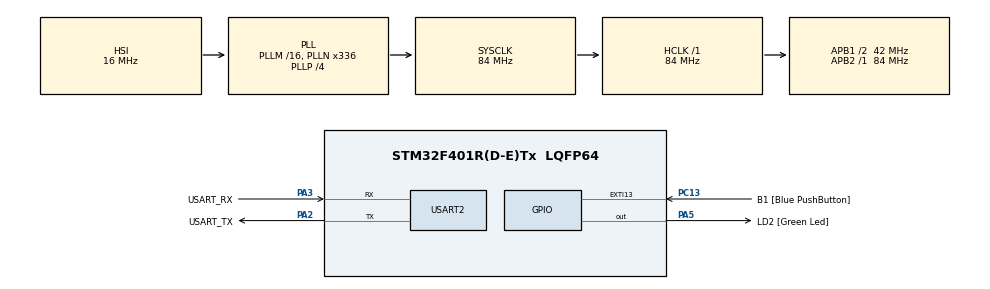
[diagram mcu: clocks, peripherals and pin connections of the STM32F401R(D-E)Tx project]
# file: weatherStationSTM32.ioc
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Mcu.Family=STM32F4
Mcu.Name=STM32F401R(D-E)Tx
Mcu.Package=LQFP64
NVIC.PriorityGroup=NVIC_PRIORITYGROUP_0
PA13.GPIO_Label=TMS
PA13.Mode=Serial_Wire
PA13.Signal=SYS_JTMS-SWDIO
PA14.GPIO_Label=TCK
PA14.Mode=Serial_Wire
PA14.Signal=SYS_JTCK-SWCLK
PA2.GPIO_Label=USART_TX
PA2.GPIO_Mode=GPIO_MODE_AF_PP
PA2.GPIO_PuPd=GPIO_NOPULL
PA2.GPIO_Speed=GPIO_SPEED_FREQ_LOW
PA2.Mode=Asynchronous
PA2.Signal=USART2_TX
PA3.GPIO_Label=USART_RX
PA3.GPIO_Mode=GPIO_MODE_AF_PP
PA3.GPIO_PuPd=GPIO_NOPULL
PA3.GPIO_Speed=GPIO_SPEED_FREQ_LOW
PA3.Mode=Asynchronous
PA3.Signal=USART2_RX
PA5.GPIO_Label=LD2 [Green Led]
PA5.GPIO_Mode=GPIO_MODE_OUTPUT_PP
PA5.GPIO_PuPd=GPIO_NOPULL
PA5.GPIO_Speed=GPIO_SPEED_FREQ_LOW
PA5.Signal=GPIO_Output
PB3.GPIO_Label=SWO
PB3.Signal=SYS_JTDO-SWO
PC13-ANTI_TAMP.GPIO_Label=B1 [Blue PushButton]
PC13-ANTI_TAMP.GPIO_ModeDefaultEXTI=GPIO_MODE_IT_FALLING
PC13-ANTI_TAMP.GPIO_PuPd=GPIO_NOPULL
PC13-ANTI_TAMP.Signal=GPXTI13
PC14-OSC32_IN.Mode=LSE-External-Oscillator
PC14-OSC32_IN.Signal=RCC_OSC32_IN
PC15-OSC32_OUT.Mode=LSE-External-Oscillator
PC15-OSC32_OUT.Signal=RCC_OSC32_OUT
PH0\ -\ OSC_IN.Mode=HSE-External-Clock-Source
PH0\ -\ OSC_IN.Signal=RCC_OSC_IN
PH1\ -\ OSC_OUT.Mode=HSE-External-Clock-Source
PH1\ -\ OSC_OUT.Signal=RCC_OSC_OUT
ProjectManager.HeapSize=0x200
ProjectManager.StackSize=0x400
ProjectManager.TargetToolchain=STM32CubeIDE
RCC.48MHZClocksFreq_Value=48000000
RCC.AHBFreq_Value=84000000
RCC.APB1CLKDivider=RCC_HCLK_DIV2
RCC.APB1Freq_Value=42000000
RCC.APB1TimFreq_Value=84000000
RCC.APB2Freq_Value=84000000
RCC.APB2TimFreq_Value=84000000
RCC.CortexFreq_Value=84000000
RCC.HCLKFreq_Value=84000000
RCC.HSE_VALUE=8000000
RCC.HSI_VALUE=16000000
RCC.PLLN=336
RCC.PLLP=RCC_PLLP_DIV4
RCC.PLLQ=7
RCC.SYSCLKFreq_VALUE=84000000
RCC.SYSCLKSource=RCC_SYSCLKSOURCE_PLLCLK
RCC.VCOOutputFreq_Value=336000000
USART2.VirtualMode=VM_ASYNC
board=NUCLEO-F401RE

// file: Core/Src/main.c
/* USER CODE BEGIN Header */
/**
 ******************************************************************************
 * @file           : main.c
 * @brief          : Main program body
 ******************************************************************************
 * @attention
 *
 * Copyright (c) 2023 STMicroelectronics.
 * All rights reserved.
 *
 * This software is licensed under terms that can be found in the LICENSE file
 * in the root directory of this software component.
 * If no LICENSE file comes with this software, it is provided AS-IS.
 *
 ******************************************************************************
 */
/* USER CODE END Header */
#include "main.h"

/* USER CODE BEGIN Includes */

#include "helpers.h"
#include "DHT.h"

/* USER CODE END Includes */

/* USER CODE BEGIN PD */
#define SAMPLING_RATE_MS 2000
#define ABSOLUT_MIN_VAL -128

/* USER CODE END PD */

UART_HandleTypeDef huart2;

void SystemClock_Config(void);
static void MX_GPIO_Init(void);
static void MX_USART2_UART_Init(void);

int main(void)
{

	/* MCU Configuration--------------------------------------------------------*/

	/* Reset of all peripherals, Initializes the Flash interface and the Systick. */
	HAL_Init();

	/* Configure the system clock */
	SystemClock_Config();

	/* Initialize all configured peripherals */
	MX_GPIO_Init();
	MX_USART2_UART_Init();
	/* USER CODE BEGIN 2 */

	static DHTdataSet DHTdataSet;
	static float temperature;
	static float humidity;

	char stringBuffer[] = "--------------------------------------------------";
	printSerialLine(&huart2, stringBuffer);
	HAL_Delay(1000);	// wait for one second after startup

	/* USER CODE END 2 */

	/* Infinite loop */
	/* USER CODE BEGIN WHILE */
	while (1) {

		if (DHT_GetData(&DHTdataSet)) {
			temperature = DHTdataSet.temperature;
			humidity = DHTdataSet.humidity;
		}
		else {
			temperature = ABSOLUT_MIN_VAL;
			humidity = ABSOLUT_MIN_VAL;
		}

		/* USER CODE END WHILE */

		/* USER CODE BEGIN 3 */
		printValuesSerialLine(&huart2, (int) temperature, (int) humidity);
		HAL_GPIO_TogglePin(LD2_GPIO_Port, LD2_Pin);
		HAL_Delay(SAMPLING_RATE_MS);
	}
	/* USER CODE END 3 */
}

void SystemClock_Config(void)
{
	RCC_OscInitTypeDef RCC_OscInitStruct = { 0 };
	RCC_ClkInitTypeDef RCC_ClkInitStruct = { 0 };

	/** Configure the main internal regulator output voltage
	 */
	__HAL_RCC_PWR_CLK_ENABLE();
	__HAL_PWR_VOLTAGESCALING_CONFIG(PWR_REGULATOR_VOLTAGE_SCALE2);

	/** Initializes the RCC Oscillators according to the specified parameters
	 * in the RCC_OscInitTypeDef structure.
	 */
	RCC_OscInitStruct.OscillatorType = RCC_OSCILLATORTYPE_HSI;
	RCC_OscInitStruct.HSIState = RCC_HSI_ON;
	RCC_OscInitStruct.HSICalibrationValue = RCC_HSICALIBRATION_DEFAULT;
	RCC_OscInitStruct.PLL.PLLState = RCC_PLL_ON;
	RCC_OscInitStruct.PLL.PLLSource = RCC_PLLSOURCE_HSI;
	RCC_OscInitStruct.PLL.PLLM = 16;
	RCC_OscInitStruct.PLL.PLLN = 336;
	RCC_OscInitStruct.PLL.PLLP = RCC_PLLP_DIV4;
	RCC_OscInitStruct.PLL.PLLQ = 7;
	if (HAL_RCC_OscConfig(&RCC_OscInitStruct) != HAL_OK) {
		Error_Handler();
	}

	/** Initializes the CPU, AHB and APB buses clocks
	 */
	RCC_ClkInitStruct.ClockType = RCC_CLOCKTYPE_HCLK | RCC_CLOCKTYPE_SYSCLK | RCC_CLOCKTYPE_PCLK1 | RCC_CLOCKTYPE_PCLK2;
	RCC_ClkInitStruct.SYSCLKSource = RCC_SYSCLKSOURCE_PLLCLK;
	RCC_ClkInitStruct.AHBCLKDivider = RCC_SYSCLK_DIV1;
	RCC_ClkInitStruct.APB1CLKDivider = RCC_HCLK_DIV2;
	RCC_ClkInitStruct.APB2CLKDivider = RCC_HCLK_DIV1;

	if (HAL_RCC_ClockConfig(&RCC_ClkInitStruct, FLASH_LATENCY_2) != HAL_OK) {
		Error_Handler();
	}
}

static void MX_USART2_UART_Init(void)
{

	huart2.Instance = USART2;
	huart2.Init.BaudRate = 115200;
	huart2.Init.WordLength = UART_WORDLENGTH_8B;
	huart2.Init.StopBits = UART_STOPBITS_1;
	huart2.Init.Parity = UART_PARITY_NONE;
	huart2.Init.Mode = UART_MODE_TX_RX;
	huart2.Init.HwFlowCtl = UART_HWCONTROL_NONE;
	huart2.Init.OverSampling = UART_OVERSAMPLING_16;
	if (HAL_UART_Init(&huart2) != HAL_OK) {
		Error_Handler();
	}

}

static void MX_GPIO_Init(void)
{
	GPIO_InitTypeDef GPIO_InitStruct = { 0 };

	/* GPIO Ports Clock Enable */
	__HAL_RCC_GPIOC_CLK_ENABLE();
	__HAL_RCC_GPIOH_CLK_ENABLE();
	__HAL_RCC_GPIOA_CLK_ENABLE();
	__HAL_RCC_GPIOB_CLK_ENABLE();

	/*Configure GPIO pin Output Level */
	HAL_GPIO_WritePin(LD2_GPIO_Port, LD2_Pin, GPIO_PIN_RESET);

	/*Configure GPIO pin : B1_Pin */
	GPIO_InitStruct.Pin = B1_Pin;
	GPIO_InitStruct.Mode = GPIO_MODE_IT_FALLING;
	GPIO_InitStruct.Pull = GPIO_NOPULL;
	HAL_GPIO_Init(B1_GPIO_Port, &GPIO_InitStruct);

	/*Configure GPIO pin : LD2_Pin */
	GPIO_InitStruct.Pin = LD2_Pin;
	GPIO_InitStruct.Mode = GPIO_MODE_OUTPUT_PP;
	GPIO_InitStruct.Pull = GPIO_NOPULL;
	GPIO_InitStruct.Speed = GPIO_SPEED_FREQ_LOW;
	HAL_GPIO_Init(LD2_GPIO_Port, &GPIO_InitStruct);

}

void Error_Handler(void)
{
	__disable_irq();
	while (1) {
	}
}
